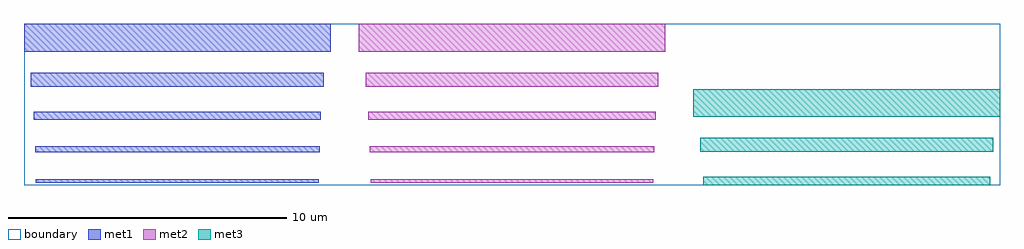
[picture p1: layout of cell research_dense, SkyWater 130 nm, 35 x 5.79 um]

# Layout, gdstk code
import gdstk
lib = gdstk.Library(unit=1e-6, precision=1e-09)
def R(c, l, rs):  # rectangles x0, y0, x1, y1
    for r in rs: c.add(gdstk.rectangle(r[:2], r[2:], *l))
met1 = (68, 20)
met2 = (69, 20)
met3 = (70, 20)
boundary = (235, 4)

research_dense = lib.new_cell('research_dense')
R(research_dense, met1, [(0.43,0.08,10.57,0.22), (0.4,1.19,10.6,1.39), (0.35,2.34,10.65,2.64), (0.25,3.54,10.75,4.04), (0,4.79,11,5.79)])
R(research_dense, met2, [(12.43,0.08,22.57,0.22), (12.4,1.19,22.6,1.39), (12.35,2.34,22.65,2.64), (12.25,3.54,22.75,4.04), (12,4.79,23,5.79)])
R(research_dense, met3, [(24.35,0,34.65,0.3), (24.25,1.2,34.75,1.7), (24,2.45,35,3.45)])
R(research_dense, boundary, [(0,0,35,5.79)])

lib.write_gds('research_dense.gds')
